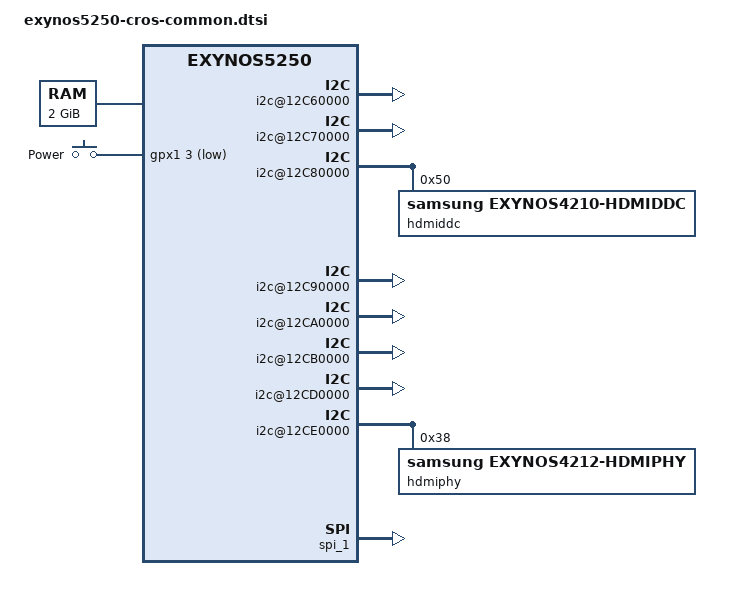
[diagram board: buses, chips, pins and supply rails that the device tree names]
/*
 * Common device tree include for all Exynos 5250 boards based off of Daisy.
 *
 * Copyright (c) 2012 Google, Inc
 *
 * This program is free software; you can redistribute it and/or modify
 * it under the terms of the GNU General Public License version 2 as
 * published by the Free Software Foundation.
*/

/ {
	aliases {
	};

	memory {
		reg = <0x40000000 0x80000000>;
	};

	chosen {
	};

	pinctrl@11400000 {
		/*
		 * Disabled pullups since external part has its own pullups and
		 * double-pulling gets us out of spec in some cases.
		 */
		i2c2_bus: i2c2-bus {
			samsung,pin-pud = <0>;
		};
	};

	i2c@12C60000 {
		status = "okay";
		samsung,i2c-sda-delay = <100>;
		samsung,i2c-max-bus-freq = <378000>;
	};

	i2c@12C70000 {
		status = "okay";
		samsung,i2c-sda-delay = <100>;
		samsung,i2c-max-bus-freq = <378000>;
	};

	i2c@12C80000 {
		status = "okay";
		samsung,i2c-sda-delay = <100>;
		samsung,i2c-max-bus-freq = <66000>;

		hdmiddc@50 {
			compatible = "samsung,exynos4210-hdmiddc";
			reg = <0x50>;
		};
	};

	i2c@12C90000 {
		status = "okay";
		samsung,i2c-sda-delay = <100>;
		samsung,i2c-max-bus-freq = <66000>;
	};

	i2c@12CA0000 {
		status = "okay";
		samsung,i2c-sda-delay = <100>;
		samsung,i2c-max-bus-freq = <66000>;
	};

	i2c@12CB0000 {
		status = "okay";
		samsung,i2c-sda-delay = <100>;
		samsung,i2c-max-bus-freq = <66000>;
	};

	i2c@12CD0000 {
		status = "okay";
		samsung,i2c-sda-delay = <100>;
		samsung,i2c-max-bus-freq = <66000>;
	};

	i2c@12CE0000 {
		status = "okay";
		samsung,i2c-sda-delay = <100>;
		samsung,i2c-max-bus-freq = <378000>;

		hdmiphy: hdmiphy@38 {
			compatible = "samsung,exynos4212-hdmiphy";
			reg = <0x38>;
		};
	};

	mmc@12200000 {
		num-slots = <1>;
		supports-highspeed;
		broken-cd;
		card-detect-delay = <200>;
		samsung,dw-mshc-ciu-div = <3>;
		samsung,dw-mshc-sdr-timing = <2 3>;
		samsung,dw-mshc-ddr-timing = <1 2>;
		pinctrl-names = "default";
		pinctrl-0 = <&sd0_clk &sd0_cmd &sd0_cd &sd0_bus4 &sd0_bus8>;

		slot@0 {
			reg = <0>;
			bus-width = <8>;
		};
	};

	mmc@12220000 {
		num-slots = <1>;
		supports-highspeed;
		card-detect-delay = <200>;
		samsung,dw-mshc-ciu-div = <3>;
		samsung,dw-mshc-sdr-timing = <2 3>;
		samsung,dw-mshc-ddr-timing = <1 2>;
		pinctrl-names = "default";
		pinctrl-0 = <&sd2_clk &sd2_cmd &sd2_cd &sd2_bus4>;

		slot@0 {
			reg = <0>;
			bus-width = <4>;
			wp-gpios = <&gpc2 1 0>;
		};
	};

	mmc@12230000 {
		num-slots = <1>;
		supports-highspeed;
		broken-cd;
		card-detect-delay = <200>;
		samsung,dw-mshc-ciu-div = <3>;
		samsung,dw-mshc-sdr-timing = <2 3>;
		samsung,dw-mshc-ddr-timing = <1 2>;
		/* See board-specific dts files for pin setup */

		slot@0 {
			reg = <0>;
			bus-width = <4>;
		};
	};

	spi_1: spi@12d30000 {
		status = "okay";
		samsung,spi-src-clk = <0>;
		num-cs = <1>;
	};

	hdmi {
		hpd-gpio = <&gpx3 7 0>;
		pinctrl-names = "default";
		pinctrl-0 = <&hdmi_hpd_irq>;
		phy = <&hdmiphy>;
		ddc = <&i2c_2>;
	};

	gpio-keys {
		compatible = "gpio-keys";

		power {
			label = "Power";
			gpios = <&gpx1 3 1>;
			linux,code = <116>; /* KEY_POWER */
			gpio-key,wakeup;
		};
	};
};
